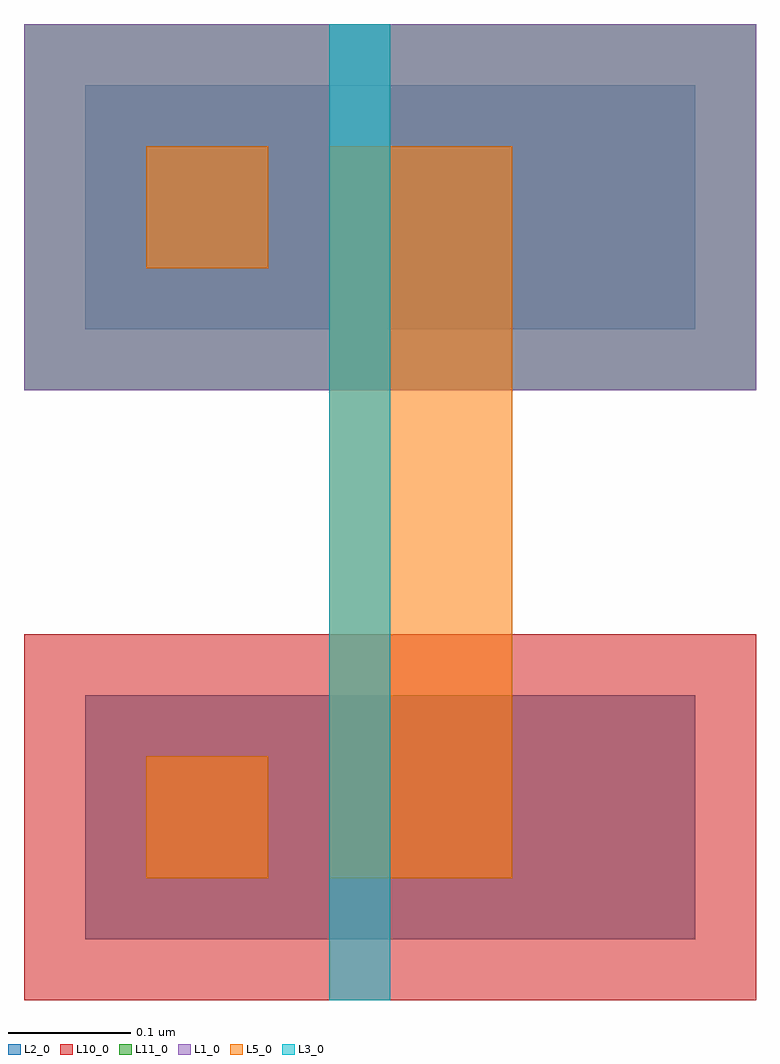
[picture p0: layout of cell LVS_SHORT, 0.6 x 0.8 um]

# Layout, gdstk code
import gdstk
lib = gdstk.Library(unit=1e-6, precision=1e-09)
def R(c, l, rs):  # rectangles x0, y0, x1, y1
    for r in rs: c.add(gdstk.rectangle(r[:2], r[2:], *l))
L1_0 = (1, 0)
L2_0 = (2, 0)
L3_0 = (3, 0)
L5_0 = (5, 0)
L10_0 = (10, 0)
L11_0 = (11, 0)

lvs_short = lib.new_cell('LVS_SHORT')
R(lvs_short, L1_0, [(-0.05,0.45,0.55,0.75)])
R(lvs_short, L2_0, [(0,0,0.5,0.2), (0,0.5,0.5,0.7)])
R(lvs_short, L3_0, [(0.2,-0.05,0.25,0.75)])
R(lvs_short, L5_0, [(0.05,0.05,0.15,0.15), (0.2,0.05,0.35,0.65), (0.05,0.55,0.15,0.65)])
R(lvs_short, L10_0, [(-0.05,-0.05,0.55,0.25)])
R(lvs_short, L11_0, [(-0.05,0.45,0.55,0.75)])

lib.write_gds('LVS_SHORT.gds')
